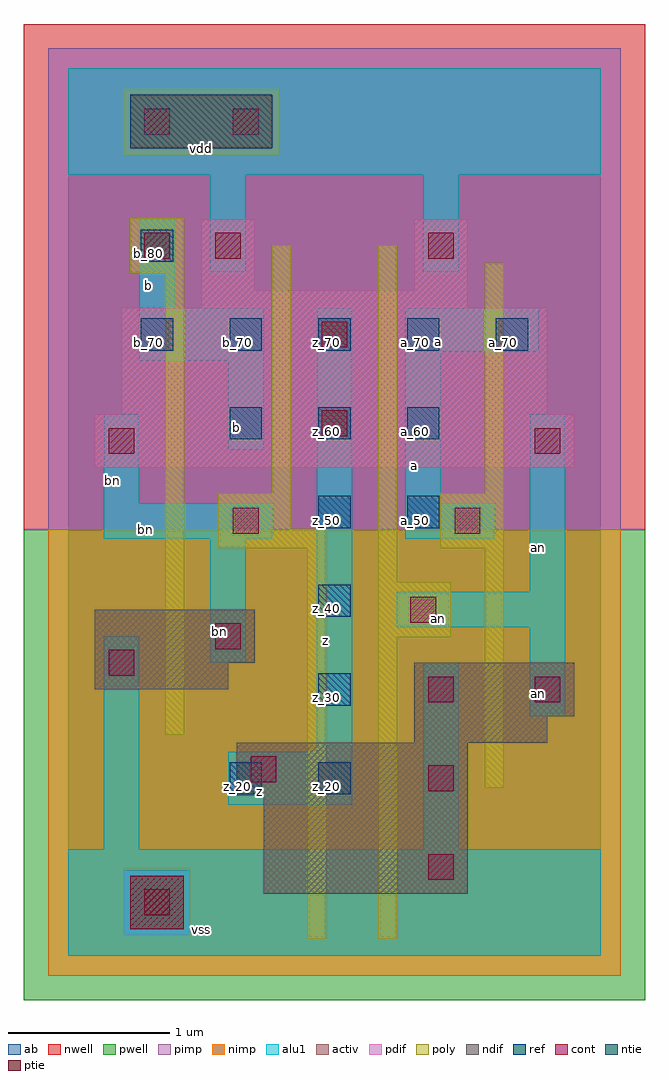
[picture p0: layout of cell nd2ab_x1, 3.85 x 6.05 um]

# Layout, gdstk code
import gdstk
lib = gdstk.Library(unit=1e-6, precision=2.5e-09)
def R(c, l, rs):  # rectangles x0, y0, x1, y1
    for r in rs: c.add(gdstk.rectangle(r[:2], r[2:], *l))
def A(c, l, x, y, w, h, nx, ny, dx, dy):  # array of equal rectangles
    R(c, l, [(x+i*dx, y+j*dy, x+i*dx+w, y+j*dy+h) for i in range(nx) for j in range(ny)])
ndif = (3, 0)
pdif = (4, 0)
ntie = (5, 0)
ptie = (6, 0)
ref = (24, 0)
cont = (25, 0)
pwell = (41, 0)
nwell = (42, 0)
activ = (43, 0)
pimp = (44, 0)
nimp = (45, 0)
poly = (46, 0)
alu1 = (49, 0)
ab = (63, 0)

nd2ab_x1 = lib.new_cell('nd2ab_x1')
R(nd2ab_x1, ndif, [(1.21,0.385,2.475,0.99), (1.045,0.99,2.475,1.32), (2.145,1.32,2.97,1.485), (2.145,1.485,3.135,1.815), (0.165,1.65,0.99,1.815), (0.165,1.815,1.155,2.145)])
R(nd2ab_x1, pdif, [(0.165,3.025,3.135,3.355), (0.33,3.355,2.97,4.015), (0.825,4.015,2.475,4.125), (0.825,4.125,1.155,4.565), (2.145,4.125,2.475,4.565)])
R(nd2ab_x1, ntie, [(0.385,5.005,1.265,5.335)])
R(nd2ab_x1, ptie, [(0.385,0.165,0.715,0.495)])
A(nd2ab_x1, ref, 1.55, 1, 0.2, 0.2, 1, 4, 0, 0.55)
A(nd2ab_x1, ref, 1, 3.2, 0.2, 0.2, 3, 1, 0.55, 0)
A(nd2ab_x1, ref, 0.45, 3.75, 0.2, 0.2, 5, 1, 0.55, 0)
R(nd2ab_x1, ref, [(1,1,1.2,1.2), (2.1,2.65,2.3,2.85), (0.45,4.3,0.65,4.5)])
A(nd2ab_x1, cont, 2.23, 0.47, 0.16, 0.16, 1, 3, 0, 0.55)
R(nd2ab_x1, cont, [(0.47,0.25,0.63,0.41), (1.13,1.075,1.29,1.235), (2.89,1.57,3.05,1.73), (0.25,1.735,0.41,1.895), (0.91,1.9,1.07,2.06), (2.12,2.065,2.28,2.225), (1.02,2.615,1.18,2.775), (2.395,2.615,2.555,2.775), (0.25,3.11,0.41,3.27), (2.89,3.11,3.05,3.27), (1.57,3.22,1.73,3.38), (1.57,3.77,1.73,3.93), (0.47,4.32,0.63,4.48), (0.91,4.32,1.07,4.48), (2.23,4.32,2.39,4.48), (0.47,5.09,0.63,5.25), (1.02,5.09,1.18,5.25)])
R(nd2ab_x1, pwell, [(-0.275,-0.275,3.575,2.64)])
R(nd2ab_x1, nwell, [(-0.275,2.64,3.575,5.775)])
R(nd2ab_x1, activ, [(0.385,0.165,0.715,0.495), (1.21,0.385,2.475,0.99), (1.045,0.99,2.475,1.32), (2.145,1.32,2.97,1.485), (2.145,1.485,3.135,1.815), (0.165,1.65,0.99,1.815), (0.165,1.815,1.155,2.145), (0.165,3.025,3.135,3.355), (0.33,3.355,2.97,4.015), (0.825,4.015,2.475,4.125), (0.825,4.125,1.155,4.565), (2.145,4.125,2.475,4.565), (0.385,5.005,1.265,5.335)])
R(nd2ab_x1, pimp, [(0.345,0.125,0.755,0.535), (-0.125,2.64,3.425,4.965), (-0.125,4.965,0.345,5.375), (1.305,4.965,3.425,5.375), (-0.125,5.375,3.425,5.625)])
R(nd2ab_x1, nimp, [(-0.125,-0.125,3.425,0.125), (-0.125,0.125,0.345,0.535), (0.755,0.125,3.425,0.535), (-0.125,0.535,3.425,2.64), (0.345,4.965,1.305,5.375)])
R(nd2ab_x1, poly, [(1.48,0.105,1.6,2.525), (1.92,0.105,2.04,1.975), (2.58,1.04,2.7,2.525), (0.6,1.37,0.72,4.23), (1.92,1.975,2.37,2.315), (1.92,2.315,2.04,4.405), (0.93,2.525,1.6,2.645), (2.305,2.525,2.7,2.865), (0.93,2.645,1.38,2.865), (1.26,2.865,1.38,4.405), (2.58,2.865,2.7,4.295), (0.38,4.23,0.72,4.57)])
R(nd2ab_x1, alu1, [(0,0,3.3,0.66), (0.22,0.66,0.44,1.98), (2.2,0.66,2.42,1.815), (0.99,0.935,1.76,1.265), (1.54,1.265,1.76,4.015), (2.86,1.485,3.08,2.035), (0.88,1.815,1.1,2.585), (2.035,2.035,3.08,2.255), (2.86,2.255,3.08,3.355), (0.22,2.585,1.265,2.805), (2.09,2.585,2.64,2.805), (0.22,2.805,0.44,3.355), (2.09,2.805,2.31,3.74), (0.99,3.135,1.21,3.685), (0.44,3.685,1.21,4.015), (2.09,3.74,2.915,4.015), (0.44,4.015,0.66,4.565), (0.88,4.235,1.1,4.84), (2.2,4.235,2.42,4.84), (0,4.84,3.3,5.5)])
R(nd2ab_x1, ab, [(0,0,3.3,5.5)])
nd2ab_x1.add(gdstk.Label('vss', (0.825,0.165), layer=49, texttype=0))
nd2ab_x1.add(gdstk.Label('an', (2.915,1.6225), layer=49, texttype=0))
nd2ab_x1.add(gdstk.Label('z', (1.1825,1.0175), layer=49, texttype=0))
nd2ab_x1.add(gdstk.Label('an', (2.295,2.09), layer=49, texttype=0))
nd2ab_x1.add(gdstk.Label('an', (2.915,2.53), layer=49, texttype=0))
nd2ab_x1.add(gdstk.Label('a', (2.145,3.0375), layer=49, texttype=0))
nd2ab_x1.add(gdstk.Label('a', (2.295,3.8075), layer=49, texttype=0))
nd2ab_x1.add(gdstk.Label('z', (1.595,1.9525), layer=49, texttype=0))
nd2ab_x1.add(gdstk.Label('bn', (0.935,2.0075), layer=49, texttype=0))
nd2ab_x1.add(gdstk.Label('bn', (0.48,2.64), layer=49, texttype=0))
nd2ab_x1.add(gdstk.Label('b', (1.045,3.2725), layer=49, texttype=0))
nd2ab_x1.add(gdstk.Label('bn', (0.275,2.9425), layer=49, texttype=0))
nd2ab_x1.add(gdstk.Label('b', (0.495,4.1525), layer=49, texttype=0))
nd2ab_x1.add(gdstk.Label('vdd', (0.825,5.005), layer=49, texttype=0))
nd2ab_x1.add(gdstk.Label('z_60', (1.6,3.25), layer=24, texttype=0))
nd2ab_x1.add(gdstk.Label('z_70', (1.6,3.8), layer=24, texttype=0))
nd2ab_x1.add(gdstk.Label('a_50', (2.15,2.7), layer=24, texttype=0))
nd2ab_x1.add(gdstk.Label('a_70', (2.7,3.8), layer=24, texttype=0))
nd2ab_x1.add(gdstk.Label('b_80', (0.5,4.35), layer=24, texttype=0))
nd2ab_x1.add(gdstk.Label('b_70', (1.05,3.8), layer=24, texttype=0))
nd2ab_x1.add(gdstk.Label('b_70', (0.5,3.8), layer=24, texttype=0))
nd2ab_x1.add(gdstk.Label('a_70', (2.15,3.8), layer=24, texttype=0))
nd2ab_x1.add(gdstk.Label('a_60', (2.15,3.25), layer=24, texttype=0))
nd2ab_x1.add(gdstk.Label('z_20', (1.05,1.05), layer=24, texttype=0))
nd2ab_x1.add(gdstk.Label('z_50', (1.6,2.7), layer=24, texttype=0))
nd2ab_x1.add(gdstk.Label('b_60', (1.05,3.25), layer=24, texttype=0))
nd2ab_x1.add(gdstk.Label('z_20', (1.6,1.05), layer=24, texttype=0))
nd2ab_x1.add(gdstk.Label('z_30', (1.6,1.6), layer=24, texttype=0))
nd2ab_x1.add(gdstk.Label('z_40', (1.6,2.15), layer=24, texttype=0))

lib.write_gds('nd2ab_x1.gds')
